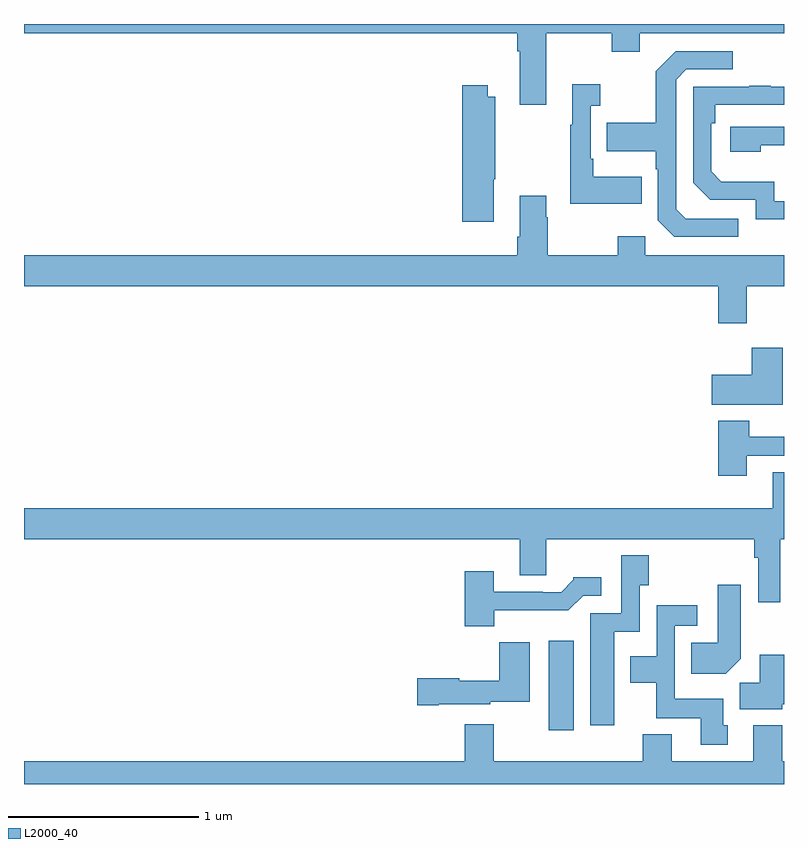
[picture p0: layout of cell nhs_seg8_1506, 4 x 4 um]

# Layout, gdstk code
import gdstk
lib = gdstk.Library(unit=1e-6, precision=1e-09)
def R(c, l, rs):  # rectangles x0, y0, x1, y1
    for r in rs: c.add(gdstk.rectangle(r[:2], r[2:], *l))
def P(c, l, *ps):  # polygons
    for p in ps: c.add(gdstk.Polygon(p, *l))
L2000_40 = (2000, 40)

nhs_seg8_1506 = lib.new_cell('nhs_seg8_1506')
R(nhs_seg8_1506, L2000_40, [(209.762,1094.184,209.893,1094.653)])
P(nhs_seg8_1506, L2000_40, [(209.749,1097.852),(210.094,1097.852),(210.094,1097.753),(210.241,1097.753),(210.241,1097.852),(211,1097.852),(211,1097.9),(207,1097.9),(207,1097.852),(209.597,1097.852),(209.597,1097.756),(209.609,1097.756),(209.609,1097.475),(209.749,1097.475)],
  [(210.76,1096.875),(210.483,1096.875),(210.432,1096.926),(210.432,1097.607),(210.486,1097.661),(210.73,1097.661),(210.73,1097.757),(210.429,1097.757),(210.324,1097.651),(210.324,1097.379),(210.067,1097.379),(210.067,1097.231),(210.324,1097.231),(210.324,1097.135),(210.336,1097.135),(210.336,1096.866),(210.423,1096.779),(210.76,1096.779)],
  [(210.251,1097.095),(209.995,1097.095),(209.995,1097.191),(209.982,1097.191),(209.982,1097.471),(210.034,1097.471),(210.034,1097.584),(209.885,1097.584),(209.885,1097.371),(209.874,1097.371),(209.874,1096.955),(210.251,1096.955)],
  [(209.473,1097.083),(209.481,1097.083),(209.481,1097.518),(209.44,1097.518),(209.44,1097.578),(209.306,1097.578),(209.306,1096.86),(209.473,1096.86)],
  [(211,1096.968),(210.948,1096.968),(210.948,1097.071),(210.671,1097.071),(210.618,1097.124),(210.618,1097.378),(210.638,1097.378),(210.638,1097.475),(211,1097.475),(211,1097.571),(210.929,1097.571),(210.929,1097.576),(210.817,1097.576),(210.817,1097.571),(210.522,1097.571),(210.522,1097.064),(210.612,1096.974),(210.852,1096.974),(210.852,1096.872),(211,1096.872)],
  [(210.878,1097.262),(211,1097.262),(211,1097.358),(210.717,1097.358),(210.717,1097.228),(210.878,1097.228)],
  [(210.805,1096.52),(211,1096.52),(211,1096.684),(210.27,1096.684),(210.27,1096.783),(210.124,1096.783),(210.124,1096.684),(209.757,1096.684),(209.757,1096.883),(209.749,1096.883),(209.749,1096.996),(209.609,1096.996),(209.609,1096.78),(209.597,1096.78),(209.597,1096.684),(207,1096.684),(207,1096.52),(210.653,1096.52),(210.653,1096.326),(210.805,1096.326)],
  [(210.994,1096.195),(210.83,1096.195),(210.83,1096.054),(210.621,1096.054),(210.621,1095.896),(210.994,1095.896)],
  [(210.805,1095.627),(211,1095.627),(211,1095.727),(210.818,1095.727),(210.818,1095.811),(210.653,1095.811),(210.653,1095.522),(210.805,1095.522)],
  [(210.98,1095.188),(211,1095.188),(211,1095.542),(210.941,1095.542),(210.941,1095.352),(207,1095.352),(207,1095.188),(209.609,1095.188),(209.609,1094.998),(209.749,1094.998),(209.749,1095.188),(210.844,1095.188),(210.844,1095.092),(210.864,1095.092),(210.864,1094.856),(210.98,1094.856)],
  [(210.106,1094.702),(210.24,1094.702),(210.24,1094.947),(210.288,1094.947),(210.288,1095.103),(210.144,1095.103),(210.144,1094.799),(209.981,1094.799),(209.981,1094.208),(210.106,1094.208)],
  [(209.476,1094.814),(209.865,1094.814),(209.943,1094.892),(210.037,1094.892),(210.037,1094.989),(209.892,1094.989),(209.892,1094.974),(209.828,1094.91),(209.729,1094.91),(209.729,1094.913),(209.473,1094.913),(209.473,1095.019),(209.321,1095.019),(209.321,1094.729),(209.476,1094.729)],
  [(210.772,1094.558),(210.772,1094.95),(210.65,1094.95),(210.65,1094.644),(210.511,1094.644),(210.511,1094.48),(210.694,1094.48)],
  [(210.703,1094.208),(210.679,1094.208),(210.679,1094.35),(210.426,1094.35),(210.426,1094.733),(210.544,1094.733),(210.544,1094.842),(210.33,1094.842),(210.33,1094.572),(210.191,1094.572),(210.191,1094.432),(210.328,1094.432),(210.328,1094.246),(210.563,1094.246),(210.563,1094.106),(210.703,1094.106)],
  [(209.182,1094.321),(209.454,1094.321),(209.454,1094.333),(209.662,1094.333),(209.662,1094.647),(209.5,1094.647),(209.5,1094.443),(209.292,1094.443),(209.292,1094.456),(209.07,1094.456),(209.07,1094.314),(209.182,1094.314)],
  [(210.99,1094.321),(211,1094.321),(211,1094.581),(210.872,1094.581),(210.872,1094.432),(210.767,1094.432),(210.767,1094.294),(210.99,1094.294)],
  [(211,1094.02),(210.992,1094.02),(210.992,1094.209),(210.839,1094.209),(210.839,1094.02),(210.409,1094.02),(210.409,1094.161),(210.257,1094.161),(210.257,1094.02),(209.473,1094.02),(209.473,1094.215),(209.321,1094.215),(209.321,1094.02),(207,1094.02),(207,1093.9),(211,1093.9)])

lib.write_gds('nhs_seg8_1506.gds')
